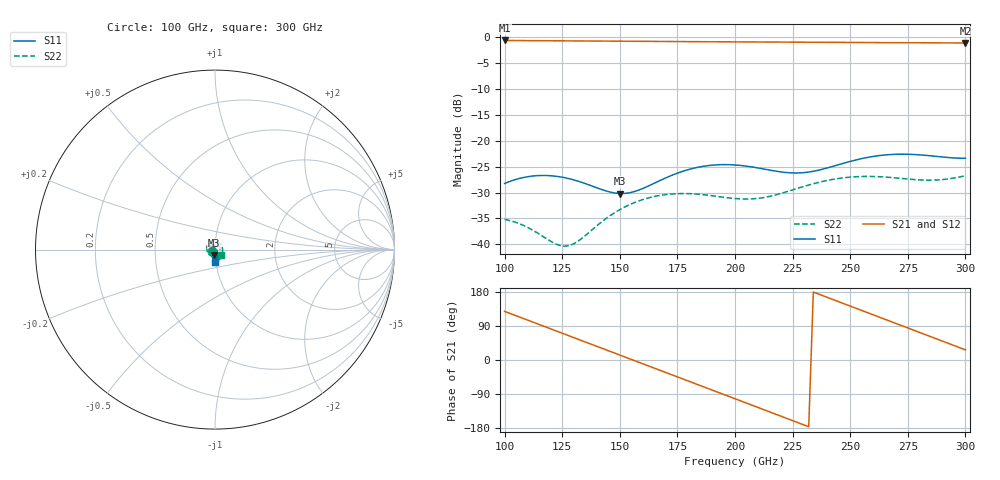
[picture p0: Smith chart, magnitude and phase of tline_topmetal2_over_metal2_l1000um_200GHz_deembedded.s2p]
! Created with skrf 2.0.1 (http://scikit-rf.org).
# GHz S DB R 50.0
!freq dBS11 angS11 dBS21 angS21 dBS12 angS12 dBS22 angS22
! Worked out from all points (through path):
!   101 points, 100 GHz to 300 GHz, reference 50 ohm
!   highest |S21| = -0.72 dB at 100 GHz (marker M1); lowest = -1.2 dB at 300 GHz (marker M2)
!   group delay of S21, straight-line fit = 6.41 ps
!   lowest |S11| = -30.2 dB at 150 GHz (marker M3), VSWR 1.06, Z = 49.4 - j3.01 ohm
!   |S11| at or under -10 dB: start of sweep to end of sweep
!   |S22| runs from -40.3 to -26.8 dB; largest |S21 - S12| = 1.1e-14
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100  -28.26 -80.5  -0.72 128.3  -0.72 128.3  -35.18 -152.7
108  -27.12 -89.4  -0.74 109.9  -0.74 109.9  -36.30 177.3
116  -26.72 -98.6  -0.77 91.4  -0.77 91.4  -38.27 139.3
126  -27.14 -108.1  -0.79 68.4  -0.79 68.4  -40.33 70.7
134  -28.12 -112.1  -0.82 50.0  -0.82 50.0  -38.66 10.2
150  -30.19 -100.2  -0.86 13.1  -0.86 13.1  -33.30 -71.6
158  -29.57 -88.3  -0.88 -5.4  -0.88 -5.4  -31.66 -103.8
168  -27.57 -81.7  -0.91 -28.5  -0.91 -28.5  -30.51 -142.7
184  -25.13 -87.9  -0.95 -65.3  -0.95 -65.3  -30.33 152.6
192  -24.67 -93.4  -0.97 -83.8  -0.97 -83.8  -30.73 116.6
200  -24.70 -98.4  -0.99 -102.2  -0.99 -102.2  -31.16 77.0
208  -25.12 -101.4  -1.01 -120.7  -1.01 -120.7  -31.21 34.3
218  -25.90 -100.3  -1.03 -143.8  -1.03 -143.8  -30.41 -19.4
226  -26.24 -95.1  -1.04 -162.2  -1.04 -162.2  -29.35 -59.3
234  -25.91 -88.6  -1.06 179.3  -1.06 179.3  -28.31 -96.0
242  -25.02 -84.4  -1.08 160.8  -1.08 160.8  -27.51 -130.5
250  -24.01 -83.8  -1.10 142.3  -1.10 142.3  -27.04 -164.1
260  -23.05 -86.7  -1.12 119.2  -1.12 119.2  -26.91 153.6
268  -22.67 -90.2  -1.14 100.7  -1.14 100.7  -27.12 118.2
276  -22.64 -93.5  -1.16 82.3  -1.16 82.3  -27.44 80.6
284  -22.89 -95.2  -1.17 63.8  -1.17 63.8  -27.62 40.3
300  -23.41 -91.3  -1.20 26.8  -1.20 26.8  -26.76 -42.3
